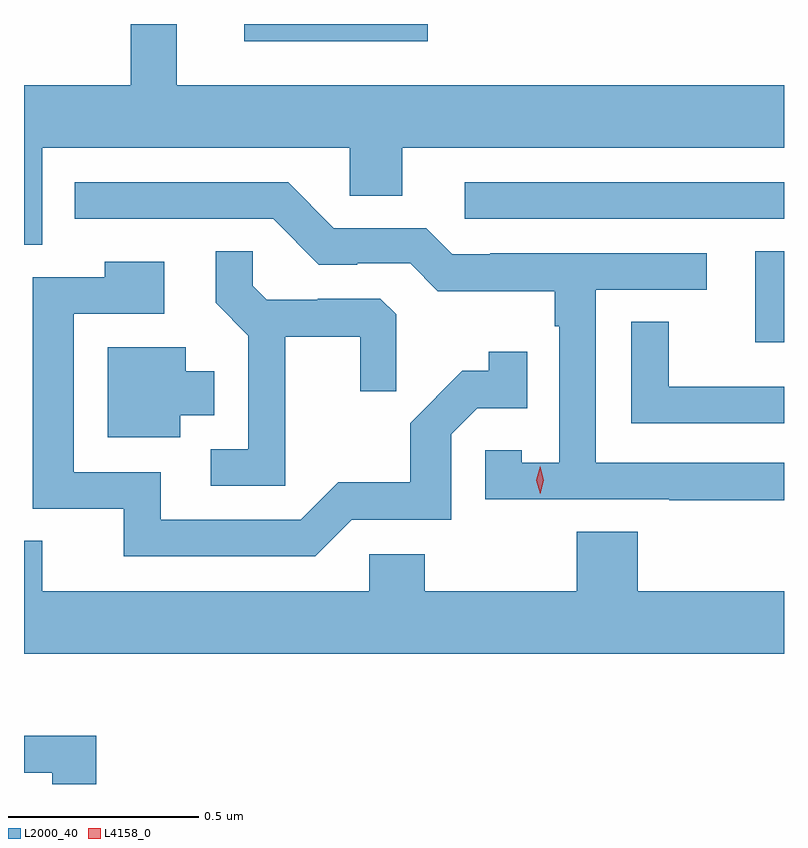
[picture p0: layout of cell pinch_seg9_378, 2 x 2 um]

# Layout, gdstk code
import gdstk
lib = gdstk.Library(unit=1e-6, precision=1e-09)
def R(c, l, rs):  # rectangles x0, y0, x1, y1
    for r in rs: c.add(gdstk.rectangle(r[:2], r[2:], *l))
def P(c, l, *ps):  # polygons
    for p in ps: c.add(gdstk.Polygon(p, *l))
L2000_40 = (2000, 40)
L4158_0 = (4158, 0)

pinch_seg9_378 = lib.new_cell('pinch_seg9_378')
R(pinch_seg9_378, L2000_40, [(376.367,1225.212,376.443,1225.451), (375.603,1225.536,376.443,1225.632), (375.023,1226.003,375.505,1226.049)])
P(pinch_seg9_378, L2000_40, [(374.491,1225.724),(375.3,1225.724),(375.3,1225.597),(375.439,1225.597),(375.439,1225.724),(376.443,1225.724),(376.443,1225.888),(374.845,1225.888),(374.845,1226.049),(374.724,1226.049),(374.724,1225.888),(374.443,1225.888),(374.443,1225.468),(374.491,1225.468)],
  [(376.443,1224.894),(375.948,1224.894),(375.948,1225.35),(376.24,1225.35),(376.24,1225.446),(375.67,1225.446),(375.67,1225.443),(375.57,1225.443),(375.501,1225.512),(375.258,1225.512),(375.138,1225.632),(374.576,1225.632),(374.576,1225.536),(375.099,1225.536),(375.219,1225.416),(375.32,1225.416),(375.32,1225.419),(375.459,1225.419),(375.532,1225.346),(375.84,1225.346),(375.84,1225.253),(375.852,1225.253),(375.852,1224.895),(375.753,1224.895),(375.753,1224.927),(375.657,1224.927),(375.657,1224.798),(376.141,1224.798),(376.141,1224.796),(376.443,1224.796)],
  [(375.131,1225.226),(375.328,1225.226),(375.328,1225.083),(375.422,1225.083),(375.422,1225.285),(375.381,1225.326),(375.216,1225.326),(375.216,1225.323),(375.082,1225.323),(375.045,1225.36),(375.045,1225.451),(374.947,1225.451),(374.947,1225.315),(375.033,1225.229),(375.033,1224.93),(374.934,1224.93),(374.934,1224.834),(375.131,1224.834)],
  [(375.306,1224.744),(375.567,1224.744),(375.567,1224.969),(375.636,1225.038),(375.767,1225.038),(375.767,1225.186),(375.666,1225.186),(375.666,1225.136),(375.596,1225.136),(375.459,1224.998),(375.459,1224.843),(375.27,1224.843),(375.171,1224.744),(374.803,1224.744),(374.803,1224.87),(374.574,1224.87),(374.574,1225.287),(374.812,1225.287),(374.812,1225.423),(374.656,1225.423),(374.656,1225.383),(374.466,1225.383),(374.466,1224.774),(374.705,1224.774),(374.705,1224.648),(375.21,1224.648)],
  [(376.443,1225.095),(376.14,1225.095),(376.14,1225.265),(376.041,1225.265),(376.041,1224.999),(376.443,1224.999)],
  [(374.854,1225.019),(374.944,1225.019),(374.944,1225.135),(374.869,1225.135),(374.869,1225.198),(374.663,1225.198),(374.663,1224.962),(374.854,1224.962)],
  [(374.443,1224.689),(374.443,1224.392),(376.443,1224.392),(376.443,1224.556),(376.058,1224.556),(376.058,1224.713),(375.898,1224.713),(375.898,1224.556),(375.498,1224.556),(375.498,1224.654),(375.351,1224.654),(375.351,1224.556),(374.491,1224.556),(374.491,1224.689)],
  [(374.633,1224.176),(374.443,1224.176),(374.443,1224.078),(374.517,1224.078),(374.517,1224.049),(374.633,1224.049)])
P(pinch_seg9_378, L4158_0, [(375.801,1224.813),(375.801,1224.813),(375.791,1224.849),(375.801,1224.885),(375.801,1224.885),(375.801,1224.885),(375.811,1224.849),(375.801,1224.813)])

lib.write_gds('pinch_seg9_378.gds')
